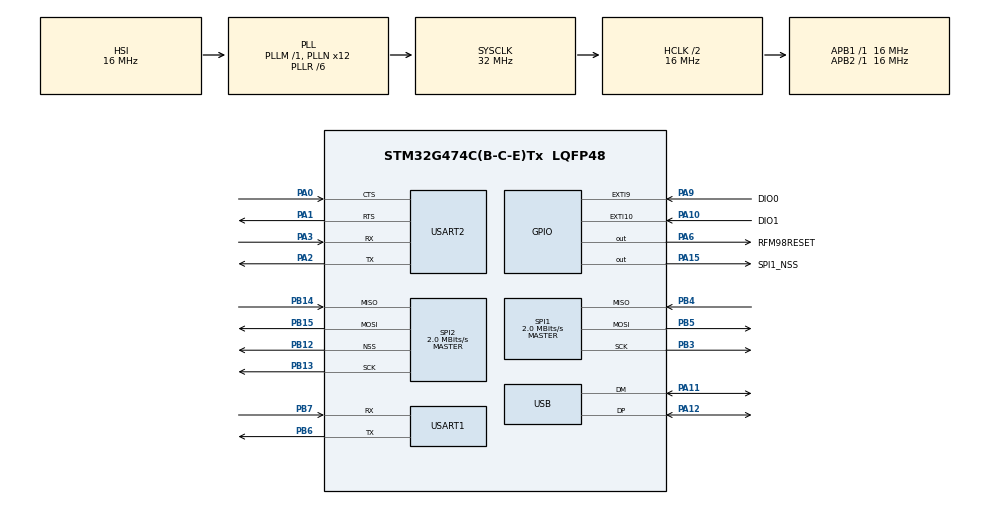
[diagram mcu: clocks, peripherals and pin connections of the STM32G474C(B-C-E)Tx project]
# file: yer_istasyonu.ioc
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Mcu.Family=STM32G4
Mcu.Name=STM32G474C(B-C-E)Tx
Mcu.Package=LQFP48
NVIC.EXTI9_5_IRQn=true\:0\:0\:false\:false\:true\:true\:true\:true
NVIC.PriorityGroup=NVIC_PRIORITYGROUP_4
PA0.Mode=CTS_RTS
PA0.Signal=USART2_CTS
PA1.Mode=CTS_RTS
PA1.Signal=USART2_RTS
PA10.GPIO_Label=DIO1
PA10.Signal=GPXTI10
PA11.Mode=Device
PA11.Signal=USB_DM
PA12.Mode=Device
PA12.Signal=USB_DP
PA13.Mode=Serial_Wire
PA13.Signal=SYS_JTMS-SWDIO
PA14.Mode=Serial_Wire
PA14.Signal=SYS_JTCK-SWCLK
PA15.GPIO_Label=SPI1_NSS
PA15.PinState=GPIO_PIN_SET
PA15.Signal=GPIO_Output
PA2.Mode=Asynchronous
PA2.Signal=USART2_TX
PA3.Mode=Asynchronous
PA3.Signal=USART2_RX
PA6.GPIO_Label=RFM98RESET
PA6.PinState=GPIO_PIN_SET
PA6.Signal=GPIO_Output
PA9.GPIO_Label=DIO0
PA9.Signal=GPXTI9
PB12.Mode=NSS_Signal_Hard_Output
PB12.Signal=SPI2_NSS
PB13.Mode=Full_Duplex_Master
PB13.Signal=SPI2_SCK
PB14.Mode=Full_Duplex_Master
PB14.Signal=SPI2_MISO
PB15.Mode=Full_Duplex_Master
PB15.Signal=SPI2_MOSI
PB3.Mode=Full_Duplex_Master
PB3.Signal=SPI1_SCK
PB4.Mode=Full_Duplex_Master
PB4.Signal=SPI1_MISO
PB5.Mode=Full_Duplex_Master
PB5.Signal=SPI1_MOSI
PB6.Mode=Asynchronous
PB6.Signal=USART1_TX
PB7.Mode=Asynchronous
PB7.Signal=USART1_RX
ProjectManager.HeapSize=0x200
ProjectManager.StackSize=0x400
ProjectManager.TargetToolchain=STM32CubeIDE
RCC.ADC12Freq_Value=32000000
RCC.ADC345Freq_Value=32000000
RCC.AHBCLKDivider=RCC_SYSCLK_DIV2
RCC.AHBFreq_Value=16000000
RCC.APB1Freq_Value=16000000
RCC.APB1TimFreq_Value=16000000
RCC.APB2Freq_Value=16000000
RCC.APB2TimFreq_Value=16000000
RCC.CortexFreq_Value=16000000
RCC.EXTERNAL_CLOCK_VALUE=12288000
RCC.HCLKFreq_Value=16000000
RCC.HSE_VALUE=8000000
RCC.HSI48_VALUE=48000000
RCC.HSI_VALUE=16000000
RCC.LSE_VALUE=32768
RCC.PLLN=12
RCC.PLLQ=RCC_PLLQ_DIV4
RCC.PLLR=RCC_PLLR_DIV6
RCC.SYSCLKFreq_VALUE=32000000
RCC.SYSCLKSource=RCC_SYSCLKSOURCE_PLLCLK
RCC.USBFreq_Value=48000000
RCC.VCOOutputFreq_Value=192000000
SPI1.BaudRatePrescaler=SPI_BAUDRATEPRESCALER_8
SPI1.CLKPhase=SPI_PHASE_1EDGE
SPI1.CalculateBaudRate=2.0 MBits/s
SPI1.DataSize=SPI_DATASIZE_8BIT
SPI1.Direction=SPI_DIRECTION_2LINES
SPI1.Mode=SPI_MODE_MASTER
SPI1.VirtualType=VM_MASTER
SPI2.BaudRatePrescaler=SPI_BAUDRATEPRESCALER_8
SPI2.CalculateBaudRate=2.0 MBits/s
SPI2.DataSize=SPI_DATASIZE_8BIT
SPI2.Direction=SPI_DIRECTION_2LINES
SPI2.Mode=SPI_MODE_MASTER
SPI2.VirtualNSS=VM_NSSHARD
SPI2.VirtualType=VM_MASTER
USART1.VirtualMode-Asynchronous=VM_ASYNC
USART2.VirtualMode-Asynchronous=VM_ASYNC
USB.Sof_enable=DISABLE
VP_SYS_VS_DBSignals.Mode=DisableDeadBatterySignals
board=custom

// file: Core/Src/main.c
/* USER CODE BEGIN Header */
/**
  ******************************************************************************
  * @file           : main.c
  * @brief          : Main program body
  ******************************************************************************
  * @attention
  *
  * Copyright (c) 2024 STMicroelectronics.
  * All rights reserved.
  *
  * This software is licensed under terms that can be found in the LICENSE file
  * in the root directory of this software component.
  * If no LICENSE file comes with this software, it is provided AS-IS.
  *
  ******************************************************************************
  */
/* USER CODE END Header */
#include "main.h"
#include "spi.h"
#include "usart.h"
#include "usb.h"
#include "gpio.h"

/* USER CODE BEGIN Includes */
#include <stdlib.h>
#include "LoRa.h"
/* USER CODE END Includes */

/* USER CODE BEGIN PV */
LoRa myLoRa;
uint8_t read_data[100];
uint8_t send_data[100];
int			RSSI;
uint8_t str[100];
uint8_t pot_data;
/* USER CODE END PV */

void SystemClock_Config(void);

int main(void)
{

  /* MCU Configuration--------------------------------------------------------*/

  /* Reset of all peripherals, Initializes the Flash interface and the Systick. */
  HAL_Init();

  /* Configure the system clock */
  SystemClock_Config();

  /* Initialize all configured peripherals */
  MX_GPIO_Init();
  MX_SPI1_Init();
  MX_SPI2_Init();
  MX_USART1_UART_Init();
  MX_USART2_UART_Init();
  MX_USB_PCD_Init();
  /* USER CODE BEGIN 2 */

	// MODULE SETTINGS ----------------------------------------------
	myLoRa = newLoRa();

	myLoRa.hSPIx                 = &hspi1;

	myLoRa.CS_port               = SPI1_NSS_GPIO_Port;
	myLoRa.CS_pin                = SPI1_NSS_Pin;

	myLoRa.reset_port            = RFM98RESET_GPIO_Port;
	myLoRa.reset_pin             = RFM98RESET_Pin;

	myLoRa.DIO0_port						 = DIO0_GPIO_Port;
	myLoRa.DIO0_pin							 = DIO0_Pin;

	myLoRa.frequency             = 433;							  // default = 433 MHz
	myLoRa.spredingFactor        = SF_7;							// default = SF_7
	myLoRa.bandWidth			       = BW_125KHz;				  // default = BW_125KHz
	myLoRa.crcRate				       = CR_4_5;						// default = CR_4_5
	myLoRa.power					       = POWER_20db;				// default = 20db
	myLoRa.overCurrentProtection = 100; 							// default = 100 mA
	myLoRa.preamble				       = 8;		  					// default = 8;

	LoRa_reset(&myLoRa);
	if (200 == LoRa_init(&myLoRa))
	{
		HAL_UART_Transmit(&huart1, (uint8_t *) "LoRa_init _k", 128,500);
	}

	// START CONTINUOUS RECEIVING -----------------------------------
	LoRa_startReceiving(&myLoRa);
	//---------------------------------------------------------------

  /* USER CODE END 2 */

  /* Infinite loop */
  /* USER CODE BEGIN WHILE */
  while (1)
  {
	// SENDING DATA - - - - - - - - - - - - - - - - - - - - - - - - -
		HAL_Delay(150);

		// RECEIVING DATA - - - - - - - - - - - - - - - - - - - - - - - -
		LoRa_receive(&myLoRa, read_data, 128);

		str[100] = "data :";
		sprintf(str, "%lu\n", read_data);

	//HAL_UART_Transmit(&huart1, str, strlen(str), 100);
    /* USER CODE END WHILE */

  }
}

void SystemClock_Config(void)
{
  RCC_OscInitTypeDef RCC_OscInitStruct = {0};
  RCC_ClkInitTypeDef RCC_ClkInitStruct = {0};

  /** Configure the main internal regulator output voltage
  */
  HAL_PWREx_ControlVoltageScaling(PWR_REGULATOR_VOLTAGE_SCALE1);

  /** Initializes the RCC Oscillators according to the specified parameters
  * in the RCC_OscInitTypeDef structure.
  */
  RCC_OscInitStruct.OscillatorType = RCC_OSCILLATORTYPE_HSI;
  RCC_OscInitStruct.HSIState = RCC_HSI_ON;
  RCC_OscInitStruct.HSICalibrationValue = RCC_HSICALIBRATION_DEFAULT;
  RCC_OscInitStruct.PLL.PLLState = RCC_PLL_ON;
  RCC_OscInitStruct.PLL.PLLSource = RCC_PLLSOURCE_HSI;
  RCC_OscInitStruct.PLL.PLLM = RCC_PLLM_DIV1;
  RCC_OscInitStruct.PLL.PLLN = 12;
  RCC_OscInitStruct.PLL.PLLP = RCC_PLLP_DIV2;
  RCC_OscInitStruct.PLL.PLLQ = RCC_PLLQ_DIV4;
  RCC_OscInitStruct.PLL.PLLR = RCC_PLLR_DIV6;
  if (HAL_RCC_OscConfig(&RCC_OscInitStruct) != HAL_OK)
  {
    Error_Handler();
  }

  /** Initializes the CPU, AHB and APB buses clocks
  */
  RCC_ClkInitStruct.ClockType = RCC_CLOCKTYPE_HCLK|RCC_CLOCKTYPE_SYSCLK
                              |RCC_CLOCKTYPE_PCLK1|RCC_CLOCKTYPE_PCLK2;
  RCC_ClkInitStruct.SYSCLKSource = RCC_SYSCLKSOURCE_PLLCLK;
  RCC_ClkInitStruct.AHBCLKDivider = RCC_SYSCLK_DIV2;
  RCC_ClkInitStruct.APB1CLKDivider = RCC_HCLK_DIV1;
  RCC_ClkInitStruct.APB2CLKDivider = RCC_HCLK_DIV1;

  if (HAL_RCC_ClockConfig(&RCC_ClkInitStruct, FLASH_LATENCY_0) != HAL_OK)
  {
    Error_Handler();
  }
}

void Error_Handler(void)
{
  __disable_irq();
  while (1)
  {
  }
}
